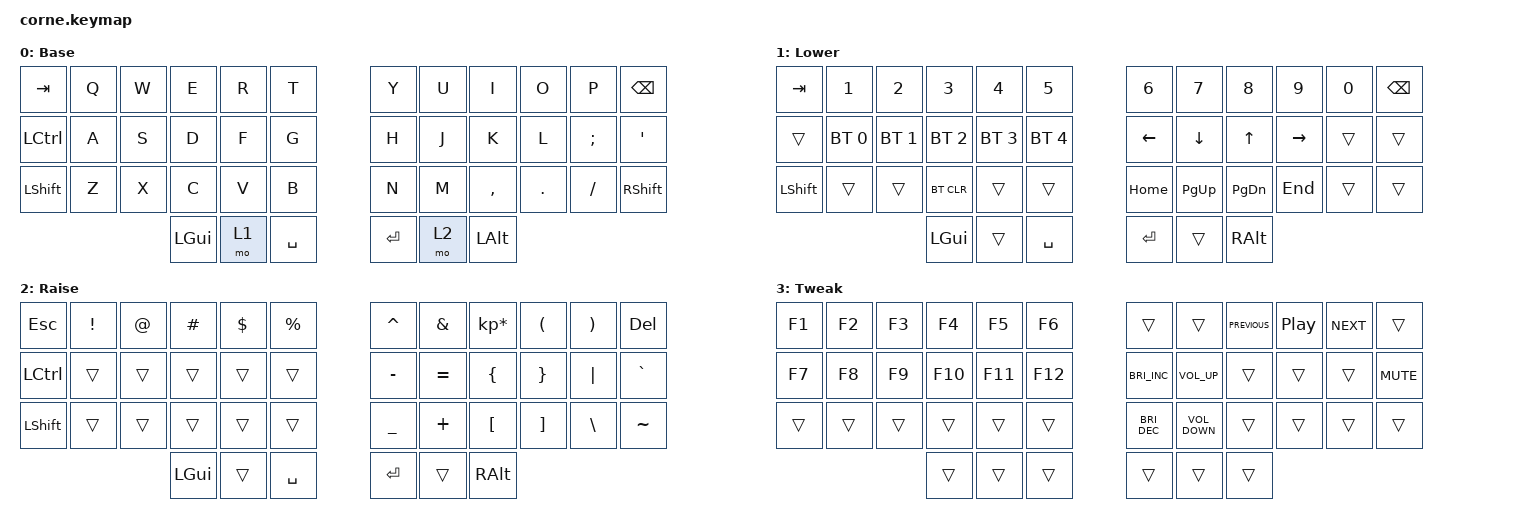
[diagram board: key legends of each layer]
/*
 * Copyright (c) 2020 The ZMK Contributors
 *
 * SPDX-License-Identifier: MIT
 */

#include <behaviors.dtsi>
#include <dt-bindings/zmk/keys.h>
#include <dt-bindings/zmk/bt.h>

/ {

    conditional_layers {
        compatible = "zmk,conditional-layers";
        tri_layer {
            if-layers = <1 2>;
            then-layer = <3>;
        };
    };

    keymap {
        compatible = "zmk,keymap";

        default_layer {
            // -----------------------------------------------------------------------------------------
            // |  TAB |  Q  |  W  |  E  |  R  |  T  |   |  Y  |  U   |  I  |  O  |  P  | BKSP |
            // | CTRL |  A  |  S  |  D  |  F  |  G  |   |  H  |  J   |  K  |  L  |  ;  |  '   |
            // | SHFT |  Z  |  X  |  C  |  V  |  B  |   |  N  |  M   |  ,  |  .  |  /  | SHFT  |
            //                    | GUI | LWR | SPC |   | ENT | RSE  | ALT |
            display-name = "Base";
            bindings = <
  &kp TAB  &kp Q  &kp W     &kp E  &kp R      &kp T      &kp Y  &kp U      &kp I    &kp O     &kp P   &kp BSPC
&kp LCTRL  &kp A  &kp S     &kp D  &kp F      &kp G      &kp H  &kp J      &kp K    &kp L  &kp SEMI    &kp SQT
&kp LSHFT  &kp Z  &kp X     &kp C  &kp V      &kp B      &kp N  &kp M  &kp COMMA  &kp DOT  &kp FSLH  &kp RSHFT
                         &kp LGUI  &mo 1  &kp SPACE    &kp RET  &mo 2   &kp LALT
            >;
        };

        lower_layer {
            // -----------------------------------------------------------------------------------------
            // |  TAB |  1  |  2  |  3  |  4  |  5  |   |  6  |  7  |  8  |  9  |  0  | BKSP |
            // |      | BT1 | BT2 | BT3 | BT4 | BT5 |   | LFT | DWN |  UP | RGT |     |      |
            // | SHFT |     |     |     |     |BTCLR|   |     |     |     |     |     |      |
            //                    | GUI |     | SPC |   | ENT |     | ALT |
            display-name = "Lower";
            bindings = <
   &kp TAB        &kp N1        &kp N2        &kp N3        &kp N4        &kp N5      &kp N6       &kp N7         &kp N8     &kp N9  &kp N0  &kp BSPC
 &trans &bt BT_SEL 0  &bt BT_SEL 1  &bt BT_SEL 2  &bt BT_SEL 3  &bt BT_SEL 4    &kp LEFT     &kp DOWN         &kp UP  &kp RIGHT  &trans    &trans
 &kp LSHFT        &trans        &trans        &bt BT_CLR        &trans        &trans    &kp HOME  &kp PAGE_UP  &kp PAGE_DOWN    &kp END  &trans    &trans
                                            &kp LGUI        &trans     &kp SPACE     &kp RET       &trans       &kp RALT
            >;
        };

        raise_layer {
            // -----------------------------------------------------------------------------------------
            // |  TAB |  !  |  @  |  #  |  $  |  %  |   |  ^  |  &  |  *  |  (  |  )  |  DEL |
            // | CTRL |     |     |     |     |     |   |  -  |  =  |  {  |  }  |  "|"  |  `   |
            // | SHFT |     |     |     |     |     |   |  _  |  +  |  [ |  ]  | \ |  ~   |
            //                    | GUI |     | SPC |   | ENT |     | ALT |
            display-name = "Raise";
            bindings = <
  &kp ESC  &kp EXCL  &kp AT  &kp HASH  &kp DLLR  &kp PRCNT    &kp CARET   &kp AMPS  &kp KP_MULTIPLY  &kp LPAR  &kp RPAR    &kp DEL
&kp LCTRL    &trans  &trans    &trans    &trans     &trans    &kp MINUS  &kp EQUAL         &kp LBRC  &kp RBRC  &kp PIPE  &kp GRAVE
&kp LSHFT    &trans  &trans    &trans    &trans     &trans    &kp UNDER   &kp PLUS         &kp LBKT  &kp RBKT  &kp BSLH  &kp TILDE
                             &kp LGUI    &trans  &kp SPACE      &kp RET     &trans         &kp RALT
            >;
        };

            // -----------------------------------------------------------------------------------------
            // | F1  | F2  | F3  | F4  | F5  | F6  |   |     |     | PRV | P/P | NXT |     |
            // | F7  | F8  | F9  | F10 | F11 | F12 |   | BR+ | VL+ |     |     |     | MUT |
            // |     |     |     |     |     |     |   | BR- | VL- |     |     |     |     |
            //                    | GUI |     | SPC |   | ENT |     | ALT |
        tweak_layer {
            display-name = "Tweak";
            bindings = <
&kp F1  &kp F2  &kp F3   &kp F4   &kp F5   &kp F6                  &trans             &trans  &kp C_PREVIOUS  &kp C_PLAY_PAUSE  &kp C_NEXT      &trans
&kp F7  &kp F8  &kp F9  &kp F10  &kp F11  &kp F12    &kp C_BRIGHTNESS_INC    &kp C_VOLUME_UP          &trans            &trans      &trans  &kp K_MUTE
&trans  &trans  &trans   &trans   &trans   &trans    &kp C_BRIGHTNESS_DEC  &kp C_VOLUME_DOWN          &trans            &trans      &trans      &trans
                         &trans   &trans   &trans                  &trans             &trans          &trans
            >;
        };

        extra_1 {
                status = "reserved";
        };

        extra_2 {
                status = "reserved";
        };

        extra_3 {
                status = "reserved";
        };
    };
};
